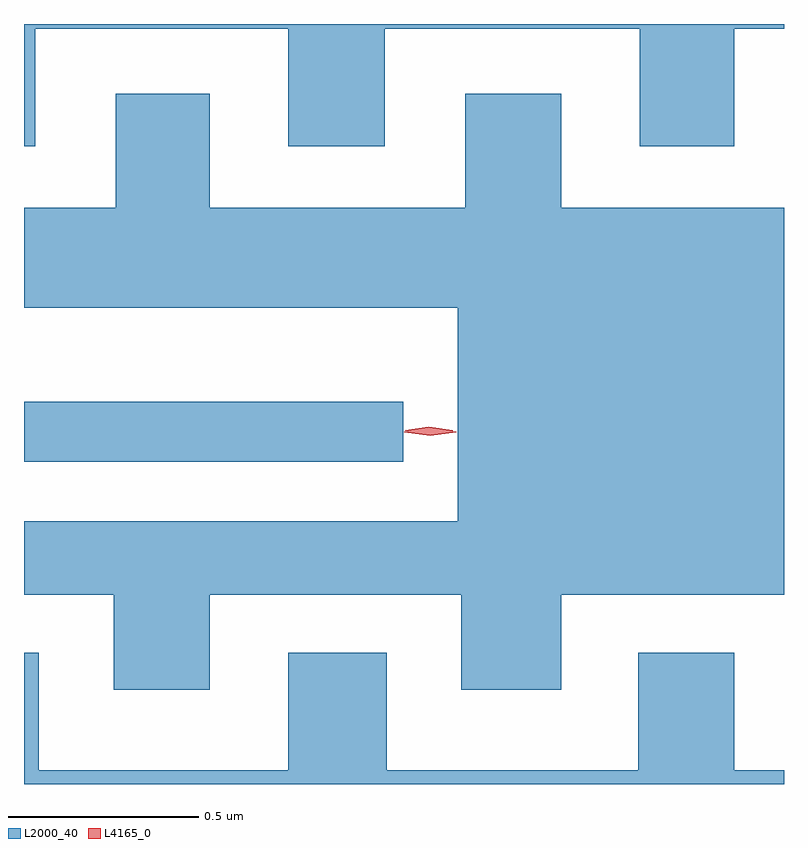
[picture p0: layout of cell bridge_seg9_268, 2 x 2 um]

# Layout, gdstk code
import gdstk
lib = gdstk.Library(unit=1e-6, precision=1e-09)
def R(c, l, rs):  # rectangles x0, y0, x1, y1
    for r in rs: c.add(gdstk.rectangle(r[:2], r[2:], *l))
def P(c, l, *ps):  # polygons
    for p in ps: c.add(gdstk.Polygon(p, *l))
L2000_40 = (2000, 40)
L4165_0 = (4165, 0)

bridge_seg9_268 = lib.new_cell('bridge_seg9_268')
R(bridge_seg9_268, L2000_40, [(1305.51,1970.696,1306.508,1970.854)])
P(bridge_seg9_268, L2000_40, [(1305.539,1971.836),(1306.206,1971.836),(1306.206,1971.526),(1306.459,1971.526),(1306.459,1971.836),(1307.131,1971.836),(1307.131,1971.526),(1307.379,1971.526),(1307.379,1971.836),(1307.51,1971.836),(1307.51,1971.848),(1305.51,1971.848),(1305.51,1971.526),(1305.539,1971.526)],
  [(1305.999,1970.346),(1306.661,1970.346),(1306.661,1970.096),(1306.924,1970.096),(1306.924,1970.346),(1307.51,1970.346),(1307.51,1971.364),(1306.924,1971.364),(1306.924,1971.664),(1306.671,1971.664),(1306.671,1971.364),(1305.999,1971.364),(1305.999,1971.664),(1305.751,1971.664),(1305.751,1971.364),(1305.51,1971.364),(1305.51,1971.101),(1306.651,1971.101),(1306.651,1970.539),(1305.51,1970.539),(1305.51,1970.346),(1305.746,1970.346),(1305.746,1970.096),(1305.999,1970.096)],
  [(1307.51,1969.884),(1307.379,1969.884),(1307.379,1970.194),(1307.126,1970.194),(1307.126,1969.884),(1306.464,1969.884),(1306.464,1970.194),(1306.206,1970.194),(1306.206,1969.884),(1305.549,1969.884),(1305.549,1970.194),(1305.51,1970.194),(1305.51,1969.848),(1307.51,1969.848)])
P(bridge_seg9_268, L4165_0, [(1306.579,1970.764),(1306.51,1970.774),(1306.51,1970.774),(1306.51,1970.775),(1306.579,1970.784),(1306.647,1970.775),(1306.648,1970.774),(1306.647,1970.774)],
  [(1306.575,1970.768),(1306.513,1970.778),(1306.513,1970.778),(1306.513,1970.779),(1306.575,1970.788),(1306.638,1970.779),(1306.638,1970.779),(1306.638,1970.778)])

lib.write_gds('bridge_seg9_268.gds')
